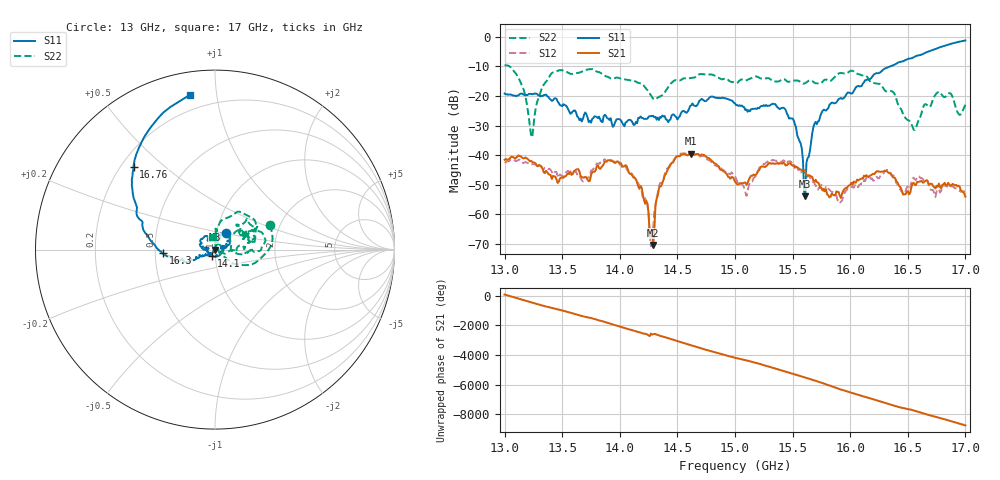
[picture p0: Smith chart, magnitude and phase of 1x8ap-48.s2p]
!Keysight Technologies,P9374A,MY57211807,A.19.30.04
!Date: Friday, May 08, 2026 15:46:09
!Correction: S11(C  2-Port  )
!S21(C  2-Port  )
!S12(C  2-Port  )
!S22(C  2-Port  )
!S2P File: Measurements: S11, S21, S12, S22:
# Hz S  dB  R 50
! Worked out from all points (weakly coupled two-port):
!   401 points, 13 GHz to 17 GHz, reference 50 ohm
!   highest |S21| = -39.59 dB at 14.62 GHz (marker M1); lowest = -70.5 dB at 14.29 GHz (marker M2)
!   lowest |S11| = -53.9 dB at 15.61 GHz (marker M3), VSWR 1.00, Z = 49.8 - j0.0155 ohm
!   |S11| at or under -10 dB: start of sweep to 16.34 GHz
!   |S22| runs from -33.9 to -9.5 dB; largest |S21 - S12| = 0.0023
!   S11 on the Smith chart (normalised r, x): 13 GHz: 1.10, +0.21; 14.1 GHz: 0.96, -0.06; 16.3 GHz: 0.55, -0.03; 16.76 GHz: 0.25, +0.40; 17 GHz: 0.12, +0.84
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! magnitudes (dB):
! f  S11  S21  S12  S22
! 13 GHz  -19.2  -41.6  -42.7  -9.5
! 13.14 GHz  -19.2  -40.4  -42.0  -15.5
! 13.23 GHz  -19.3  -42.0  -43.2  -33.5
! 13.4 GHz  -21.3  -46.8  -45.1  -12.7
! 13.67 GHz  -28.6  -47.4  -48.5  -11.8
! 14.1 GHz  -28.4  -46.4  -46.1  -14.7
! 14.29 GHz  -26.7  -70.5  -64.3  -20.9
! 14.34 GHz  -28.1  -51.3  -50.5  -20.3
! 14.62 GHz  -23.1  -39.6  -39.5  -13.9
! 15 GHz  -22.5  -49.0  -47.2  -15.5
! 15.1 GHz  -24.6  -50.1  -53.8  -14.7
! 15.43 GHz  -24.2  -42.9  -42.1  -14.3
! 15.52 GHz  -29.5  -44.3  -43.8  -14.7
! 15.61 GHz  -53.9  -45.3  -46.5  -15.6
! 15.67 GHz  -32.7  -47.4  -49.1  -14.9
! 15.91 GHz  -20.9  -53.8  -56.3  -12.2
! 16.3 GHz  -10.7  -45.4  -45.2  -18.1
! 16.34 GHz  -10.1  -46.2  -46.1  -18.3
! 16.46 GHz  -8.2  -53.3  -53.4  -26.2
! 16.56 GHz  -6.7  -50.1  -48.3  -31.5
! 16.76 GHz  -3.8  -50.8  -52.0  -18.7
! 17 GHz  -1.2  -54.1  -53.0  -23.0
